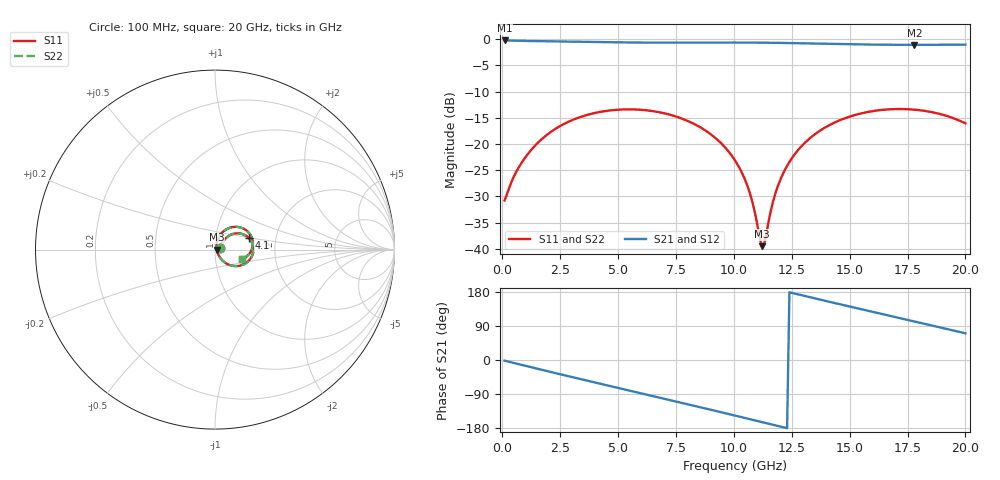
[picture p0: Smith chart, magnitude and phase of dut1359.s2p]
! Touchstone file exported from HFSS 2026.1.0
!  File:  C:/ffzhzh/LocalFiles/Ansys_Project_Files/temp_train_TSV_RDL_1359_1783341862_5512.aedt
!  Generated:  08:53:52 PM Jul  6, 2026
!  Design:  TSV_RDL
!  Project:  temp_train_TSV_RDL_1359_1783341862_5512
! Variables:
!  h_bsmrdl = 4.58um
!  h_ox = 20um
!  h_rdl = 5um
!  h_sub = 69.55um
!  h_tmrdl = 2.89um
!  h_tsv = 69.55um
!  h_via = 3um
!  l_bsmrdl = 823.7um
!  l_sub = 4776.26um
!  l_tmrdl = 453.1um
!  m_sub = 200um
!  pitch = 24.81um
!  r_tsv = 9.8um
!  s_tmrdl = 10um
!  w_bsmrdl = 15.85um
!  w_sub = 500um
!  w_tmrdl = 15.07um
!  x_tsv_center1 = 460.635um
!  x_tsv_center2 = 1300.185um
!  x_tsv_center3 = 1768.355um
!  x_tsv_center4 = 2607.905um
!  x_tsv_center5 = 3076.075um
!  x_tsv_center6 = 3915.625um
# GHz S MA R 50.000000
! Terminal data exported
! Port[1] = TM_RDL1_1_T1
! Port[2] = TM_RDL5_1_T1
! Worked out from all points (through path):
!   200 points, 100 MHz to 20 GHz, reference 50 ohm
!   highest |S21| = -0.24 dB at 100 MHz (marker M1); lowest = -1.1 dB at 17.8 GHz (marker M2)
!   group delay of S21, straight-line fit = 40.2 ps
!   lowest |S11| = -39.5 dB at 11.2 GHz (marker M3), VSWR 1.02, Z = 51.1 - j0.0972 ohm
!   |S11| at or under -10 dB: start of sweep to end of sweep
!   |S22| runs from -39.5 to -13.3 dB; largest |S21 - S12| = 1.6e-14
!   S11 on the Smith chart (normalised r, x): 100 MHz: 1.06, +0.02; 4.1 GHz: 1.45, +0.19; 20 GHz: 1.34, -0.15
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0.1  0.02895 15.5  0.9723 -1.6  0.9723 -1.6  0.02895 15.5
! Gamma 0 0 0 0
! Port Impedance 50 0 50 0
0.6  0.05418 42.4  0.9655 -9.4  0.9655 -9.4  0.05418 42.4
1.4  0.09584 46.2  0.9589 -21.3  0.9589 -21.3  0.09584 46.2
2.3  0.1399 39.6  0.9511 -34.6  0.9511 -34.6  0.1399 39.6
3.5  0.185 26.0  0.9406 -52.1  0.9406 -52.1  0.185 26.0
4.1  0.2001 18.5  0.9361 -60.7  0.9361 -60.7  0.2001 18.5
5.5  0.2143 0.4  0.9293 -80.7  0.9293 -80.7  0.2143 0.4
6.8  0.2006 -16.6  0.9279 -99.3  0.9279 -99.3  0.2006 -16.7
8.8  0.1334 -42.6  0.9305 -128.2  0.9305 -128.2  0.1334 -42.6
9.5  0.09921 -50.9  0.9309 -138.5  0.9309 -138.5  0.09924 -50.9
10.1  0.06702 -56.5  0.9303 -147.4  0.9303 -147.4  0.06704 -56.6
10.7  0.03353 -56.0  0.9287 -156.3  0.9287 -156.3  0.03354 -56.1
11.2  0.01061 -5.1  0.9265 -163.7  0.9265 -163.7  0.01057 -5.4
11.3  0.01079 25.3  0.926 -165.1  0.926 -165.1  0.01073 25.2
11.7  0.02861 71.0  0.9236 -171.1  0.9236 -171.1  0.02856 71.0
12.1  0.05081 74.7  0.9208 -177.0  0.9208 -177.0  0.05077 74.8
12.7  0.08365 70.9  0.9159 174.2  0.9159 174.2  0.08361 71.0
13.4  0.1192 63.3  0.9094 164.0  0.9094 164.0  0.1192 63.4
14.9  0.1795 44.7  0.8957 142.5  0.8957 142.5  0.1794 44.7
16.7  0.2143 21.5  0.8848 117.2  0.8848 117.2  0.2143 21.5
17.8  0.2127 7.5  0.8829 101.7  0.8829 101.7  0.2127 7.4
20  0.1574 -19.9  0.8875 70.4  0.8875 70.4  0.1574 -20.0
